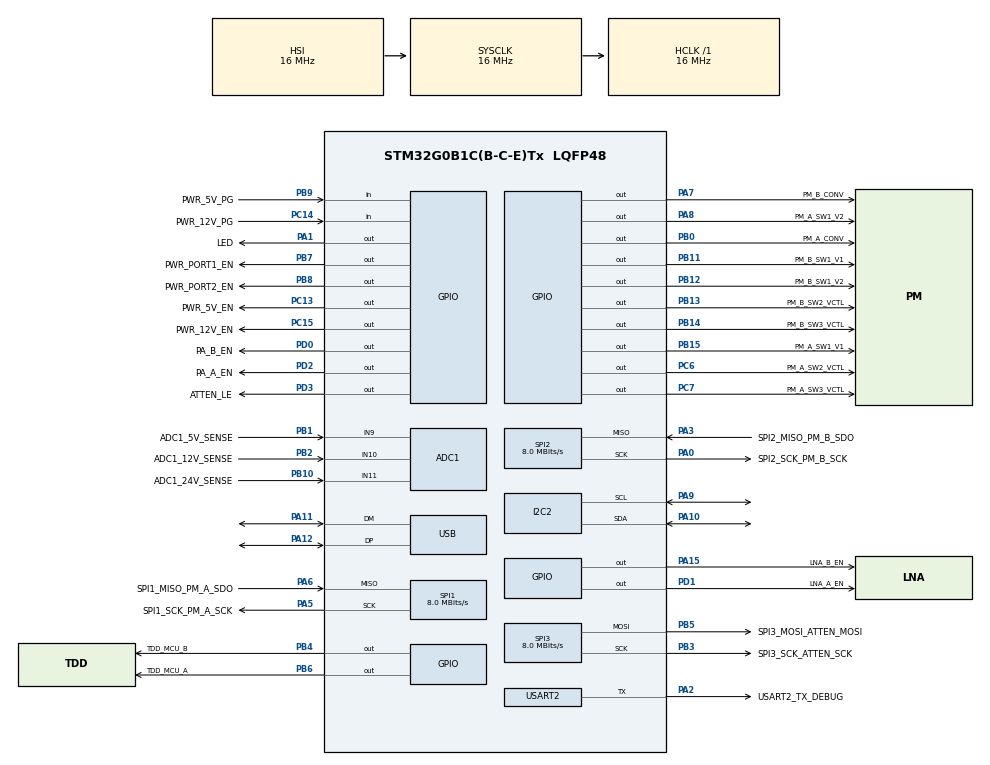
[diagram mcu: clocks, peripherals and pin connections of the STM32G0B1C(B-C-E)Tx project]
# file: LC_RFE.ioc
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ADC1.Channel-2\#ChannelRegularConversion=ADC_CHANNEL_9
ADC1.Channel-5\#ChannelRegularConversion=ADC_CHANNEL_10
ADC1.Channel-6\#ChannelRegularConversion=ADC_CHANNEL_11
ADC1.ContinuousConvMode=DISABLE
ADC1.DMAContinuousRequests=ENABLE
ADC1.EOCSelection=ADC_EOC_SEQ_CONV
ADC1.EnableAnalogWatchDog2=false
ADC1.EnableAnalogWatchDog3=false
ADC1.ExternalTrigConv=ADC_EXTERNALTRIG_T3_TRGO
ADC1.NbrOfConversion=3
ADC1.NbrOfConversionFlag=1
ADC1.Overrun=ADC_OVR_DATA_OVERWRITTEN
ADC1.Rank-2\#ChannelRegularConversion=1
ADC1.Rank-5\#ChannelRegularConversion=2
ADC1.Rank-6\#ChannelRegularConversion=3
ADC1.SamplingTime-2\#ChannelRegularConversion=ADC_SAMPLINGTIME_COMMON_1
ADC1.SamplingTime-5\#ChannelRegularConversion=ADC_SAMPLINGTIME_COMMON_1
ADC1.SamplingTime-6\#ChannelRegularConversion=ADC_SAMPLINGTIME_COMMON_1
ADC1.SamplingTimeCommon1=ADC_SAMPLETIME_160CYCLES_5
ADC1.SamplingTimeCommon2=ADC_SAMPLETIME_160CYCLES_5
ADC1.SelectedChannel=ADC_CHANNEL_9|ADC_CHANNEL_10|ADC_CHANNEL_11
ADC1.master=1
Dma.ADC1.0.Direction=DMA_PERIPH_TO_MEMORY
Dma.ADC1.0.EventEnable=DISABLE
Dma.ADC1.0.Instance=DMA1_Channel1
Dma.ADC1.0.MemDataAlignment=DMA_MDATAALIGN_HALFWORD
Dma.ADC1.0.MemInc=DMA_MINC_ENABLE
Dma.ADC1.0.Mode=DMA_CIRCULAR
Dma.ADC1.0.PeriphDataAlignment=DMA_PDATAALIGN_HALFWORD
Dma.ADC1.0.PeriphInc=DMA_PINC_DISABLE
Dma.ADC1.0.Polarity=HAL_DMAMUX_REQ_GEN_RISING
Dma.ADC1.0.Priority=DMA_PRIORITY_LOW
Dma.ADC1.0.RequestNumber=1
Dma.ADC1.0.SignalID=NONE
Dma.ADC1.0.SyncEnable=DISABLE
Dma.ADC1.0.SyncPolarity=HAL_DMAMUX_SYNC_NO_EVENT
Dma.ADC1.0.SyncRequestNumber=1
Dma.ADC1.0.SyncSignalID=NONE
Dma.Request0=ADC1
Mcu.Family=STM32G0
Mcu.Name=STM32G0B1C(B-C-E)Tx
Mcu.Package=LQFP48
NVIC.ADC1_COMP_IRQn=true\:0\:0\:false\:false\:true\:true\:true\:true
NVIC.DMA1_Channel1_IRQn=true\:0\:0\:false\:false\:true\:false\:true\:true
NVIC.USB_UCPD1_2_IRQn=true\:0\:0\:false\:false\:true\:true\:true\:true
PA0.GPIO_Label=SPI2_SCK_PM_B_SCK
PA0.Mode=RX_Only_Simplex_Unidirect_Master
PA0.Signal=SPI2_SCK
PA1.GPIO_Label=LED
PA1.Signal=GPIO_Output
PA10.Mode=I2C
PA10.Signal=I2C2_SDA
PA11\ [PA9].Mode=Device
PA11\ [PA9].Signal=USB_DM
PA12\ [PA10].Mode=Device
PA12\ [PA10].Signal=USB_DP
PA13.Mode=Serial_Wire
PA13.Signal=SYS_SWDIO
PA14-BOOT0.Mode=Serial_Wire
PA14-BOOT0.Signal=SYS_SWCLK
PA15.GPIO_Label=LNA_B_EN
PA15.Signal=GPIO_Output
PA2.GPIO_Label=USART2_TX_DEBUG
PA2.Mode=Half_duplex(single_wire_mode)
PA2.Signal=USART2_TX
PA3.GPIO_Label=SPI2_MISO_PM_B_SDO
PA3.Mode=RX_Only_Simplex_Unidirect_Master
PA3.Signal=SPI2_MISO
PA5.GPIO_Label=SPI1_SCK_PM_A_SCK
PA5.Mode=RX_Only_Simplex_Unidirect_Master
PA5.Signal=SPI1_SCK
PA6.GPIO_Label=SPI1_MISO_PM_A_SDO
PA6.Mode=RX_Only_Simplex_Unidirect_Master
PA6.Signal=SPI1_MISO
PA7.GPIO_Label=PM_B_CONV
PA7.Signal=GPIO_Output
PA8.GPIO_Label=PM_A_SW1_V2
PA8.Signal=GPIO_Output
PA9.Mode=I2C
PA9.Signal=I2C2_SCL
PB0.GPIO_Label=PM_A_CONV
PB0.Signal=GPIO_Output
PB1.GPIO_Label=ADC1_5V_SENSE
PB1.Signal=SharedAnalog_PB1
PB10.GPIO_Label=ADC1_24V_SENSE
PB10.Signal=SharedAnalog_PB10
PB11.GPIO_Label=PM_B_SW1_V1
PB11.Signal=GPIO_Output
PB12.GPIO_Label=PM_B_SW1_V2
PB12.Signal=GPIO_Output
PB13.GPIO_Label=PM_B_SW2_VCTL
PB13.Signal=GPIO_Output
PB14.GPIO_Label=PM_B_SW3_VCTL
PB14.Signal=GPIO_Output
PB15.GPIO_Label=PM_A_SW1_V1
PB15.Signal=GPIO_Output
PB2.GPIO_Label=ADC1_12V_SENSE
PB2.Signal=SharedAnalog_PB2
PB3.GPIO_Label=SPI3_SCK_ATTEN_SCK
PB3.Mode=TX_Only_Simplex_Unidirect_Master
PB3.Signal=SPI3_SCK
PB4.GPIO_Label=TDD_MCU_B
PB4.Signal=GPIO_Output
PB5.GPIO_Label=SPI3_MOSI_ATTEN_MOSI
PB5.Mode=TX_Only_Simplex_Unidirect_Master
PB5.Signal=SPI3_MOSI
PB6.GPIO_Label=TDD_MCU_A
PB6.Signal=GPIO_Output
PB7.GPIO_Label=PWR_PORT1_EN
PB7.Signal=GPIO_Output
PB8.GPIO_Label=PWR_PORT2_EN
PB8.Signal=GPIO_Output
PB9.GPIO_Label=PWR_5V_PG
PB9.Signal=GPIO_Input
PC13.GPIO_Label=PWR_5V_EN
PC13.Signal=GPIO_Output
PC14-OSC32_IN\ (PC14).GPIO_Label=PWR_12V_PG
PC14-OSC32_IN\ (PC14).Signal=GPIO_Input
PC15-OSC32_OUT\ (PC15).GPIO_Label=PWR_12V_EN
PC15-OSC32_OUT\ (PC15).Signal=GPIO_Output
PC6.GPIO_Label=PM_A_SW2_VCTL
PC6.Signal=GPIO_Output
PC7.GPIO_Label=PM_A_SW3_VCTL
PC7.Signal=GPIO_Output
PD0.GPIO_Label=PA_B_EN
PD0.Signal=GPIO_Output
PD1.GPIO_Label=LNA_A_EN
PD1.Signal=GPIO_Output
PD2.GPIO_Label=PA_A_EN
PD2.Signal=GPIO_Output
PD3.GPIO_Label=ATTEN_LE
PD3.Signal=GPIO_Output
PF0-OSC_IN\ (PF0).Mode=HSE-External-Oscillator
PF0-OSC_IN\ (PF0).Signal=RCC_OSC_IN
PF1-OSC_OUT\ (PF1).Mode=HSE-External-Oscillator
PF1-OSC_OUT\ (PF1).Signal=RCC_OSC_OUT
ProjectManager.HeapSize=0x2000
ProjectManager.StackSize=0x2000
ProjectManager.TargetToolchain=STM32CubeIDE
RCC.AHBFreq_Value=16000000
RCC.CortexFreq_Value=16000000
RCC.EXTERNAL_CLOCK_VALUE=48000
RCC.HCLKFreq_Value=16000000
RCC.HSE_VALUE=8000000
RCC.HSI48_VALUE=48000000
RCC.HSI_VALUE=16000000
RCC.LSE_VALUE=32768
RCC.PLLQ=RCC_PLLQ_DIV4
RCC.SYSCLKFreq_VALUE=16000000
RCC.USBFreq_Value=48000000
RCC.VCOOutputFreq_Value=128000000
SH.SharedAnalog_PB1.0=GPIO_Analog
SH.SharedAnalog_PB1.1=ADC1_IN9,IN9
SH.SharedAnalog_PB10.0=GPIO_Analog
SH.SharedAnalog_PB10.1=ADC1_IN11,IN11
SH.SharedAnalog_PB2.0=GPIO_Analog
SH.SharedAnalog_PB2.1=ADC1_IN10,IN10
SPI1.CalculateBaudRate=8.0 MBits/s
SPI1.Direction=SPI_DIRECTION_2LINES_RXONLY
SPI1.Mode=SPI_MODE_MASTER
SPI1.VirtualType=VM_MASTER
SPI2.CalculateBaudRate=8.0 MBits/s
SPI2.Direction=SPI_DIRECTION_2LINES_RXONLY
SPI2.Mode=SPI_MODE_MASTER
SPI2.VirtualType=VM_MASTER
SPI3.BaudRatePrescaler=SPI_BAUDRATEPRESCALER_2
SPI3.CalculateBaudRate=8.0 MBits/s
SPI3.DataSize=SPI_DATASIZE_8BIT
SPI3.Direction=SPI_DIRECTION_2LINES
SPI3.FirstBit=SPI_FIRSTBIT_LSB
SPI3.Mode=SPI_MODE_MASTER
SPI3.VirtualType=VM_MASTER
TIM3.Period=1000-1
TIM3.Prescaler=16000-1
TIM3.TIM_MasterOutputTrigger=TIM_TRGO_UPDATE
USART2.Mode=MODE_TX
USART2.VirtualMode-Half_duplex(single_wire_mode)=VM_ASYNC
USB_DEVICE.CLASS_NAME_FS=CDC
USB_DEVICE.VirtualMode=Cdc
USB_DEVICE.VirtualModeFS=Cdc_FS
VP_SYS_VS_DBSignals.Mode=DisableDeadBatterySignals
VP_TIM3_VS_ClockSourceINT.Mode=Internal
VP_USB_DEVICE_VS_USB_DEVICE_CDC_FS.Mode=CDC_FS
board=custom

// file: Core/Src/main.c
/* USER CODE BEGIN Header */
/**
  ******************************************************************************
  * @file           : main.c
  * @brief          : Main program body
  ******************************************************************************
  * @attention
  *
  * Copyright (c) 2024 STMicroelectronics.
  * All rights reserved.
  *
  * This software is licensed under terms that can be found in the LICENSE file
  * in the root directory of this software component.
  * If no LICENSE file comes with this software, it is provided AS-IS.
  *
  ******************************************************************************
  */
/* USER CODE END Header */
#include "main.h"
#include "usb_device.h"

/* USER CODE BEGIN Includes */
#include <stdio.h>
#include <stdarg.h>  // va_list, va_start, va_end
#include <stdlib.h>  // strtof
#include <string.h>
#include "usbd_cdc_if.h"
#include "util.h"
#include "func_sys.h"
#include "func_rf.h"
#include "test_modes.h"
/* USER CODE END Includes */

/* USER CODE BEGIN PD */
#define FW_VER     0.3

#define DEBUG_PRINT

// use USB CDC for printf()? If not set, UART2 will be used.
// side effect: an active USB connection is required for things to work
// as otherwise the TX ACK will never be generated and printf() will hang.
// not really a problem if your use case has a USB cable plugged in all the time.
#define PRINTF_USB_CDC

// For our custom cdcprintf() functionality
#define CDC_QUEUE_SIZE 2048
static char cdc_queue[CDC_QUEUE_SIZE] = {0};
static size_t cdc_queue_len = 0;

// Potential divider ratio calculations for Vsense
#define RATIO_5V   ((26.1 + 26.1) / 26.1)  // R107 and R108
#define RATIO_12V  ((75.0 + 26.1) / 26.1)  // R105 and R106
#define RATIO_24V  ((191.0 + 26.1) / 26.1) // R103 and R104

#define MAX_CMD_QUEUE 16
typedef struct {
    char* commands[MAX_CMD_QUEUE];
    uint8_t head;
    uint8_t tail;
} CommandQueue;

static CommandQueue cmd_queue = {0};

static int enqueue_command(const char* cmd) {
    uint8_t next_head = (cmd_queue.head + 1) % MAX_CMD_QUEUE;
    if(next_head == cmd_queue.tail) return -1; // Queue full

    cmd_queue.commands[cmd_queue.head] = malloc(strlen(cmd)+1);
    strcpy(cmd_queue.commands[cmd_queue.head], cmd);
    cmd_queue.head = next_head;
    return 0;
}

static char* dequeue_command(void) {
    if(cmd_queue.tail == cmd_queue.head) return NULL; // Queue empty
    char* cmd = cmd_queue.commands[cmd_queue.tail];
    cmd_queue.tail = (cmd_queue.tail + 1) % MAX_CMD_QUEUE;
    return cmd;
}
/* USER CODE END PD */

ADC_HandleTypeDef hadc1;
DMA_HandleTypeDef hdma_adc1;

I2C_HandleTypeDef hi2c2;

SPI_HandleTypeDef hspi1;
SPI_HandleTypeDef hspi2;
SPI_HandleTypeDef hspi3;

TIM_HandleTypeDef htim3;

UART_HandleTypeDef huart2;

/* USER CODE BEGIN PV */
volatile uint8_t EndOfADCConversion;
uint16_t adc_data[3];

float vsense_5v, vsense_12v, vsense_24v;

extern rf_sw_sp3t IC904, IC1004;
extern rf_sw_spdt IC903, IC905, IC1003, IC1005, IC1501_1502, IC1601_1602;
/* USER CODE END PV */

void SystemClock_Config(void);
static void MX_GPIO_Init(void);
static void MX_DMA_Init(void);
static void MX_USART2_UART_Init(void);
static void MX_ADC1_Init(void);
static void MX_I2C2_Init(void);
static void MX_SPI3_Init(void);
static void MX_TIM3_Init(void);
static void MX_SPI1_Init(void);
static void MX_SPI2_Init(void);
/* USER CODE BEGIN PFP */
int cdcprintf(const char* format, ...);
int dbgprintf(const char* format, ...);
void cdc_process_queue(void);
void resp_ok();
void resp_error();
void resp_bool(bool);
void resp_float(float);
void resp_param_error();
void queue_command(char*);
void process_command(char*);
/* USER CODE END PFP */

int main(void)
{

  /* MCU Configuration--------------------------------------------------------*/

  /* Reset of all peripherals, Initializes the Flash interface and the Systick. */
  HAL_Init();

  /* Configure the system clock */
  SystemClock_Config();

  /* USER CODE BEGIN SysInit */
  //setbuf(stdout, NULL); // no need for a \n for printf()
  /* USER CODE END SysInit */

  /* Initialize all configured peripherals */
  MX_GPIO_Init();
  MX_DMA_Init();
  MX_USART2_UART_Init();
  MX_ADC1_Init();
  MX_I2C2_Init();
  MX_SPI3_Init();
  MX_USB_Device_Init();
  MX_TIM3_Init();
  MX_SPI1_Init();
  MX_SPI2_Init();
  /* USER CODE BEGIN 2 */
  // Start continuous ADC conversion
  HAL_ADC_Start_DMA(&hadc1, (uint32_t)&adc_data, 3);
  HAL_TIM_Base_Start(&htim3);

  // Start with a known RF setup
  rf_reset(RF_CH_A);
  rf_reset(RF_CH_B);

  // Open for business!
  led_on();
  /* USER CODE END 2 */

  /* Infinite loop */
  /* USER CODE BEGIN WHILE */
  while (1)
  {
    // Process cdcprintf() output queue
    cdc_process_queue();

    // Commands that need to talk to talk SPI etc take a long time, causing
    // the CDC comms to break, so we have this queue to process them
    char* next_cmd = dequeue_command();
    if(next_cmd) {
        process_command(next_cmd);
        free(next_cmd);
    }

    // Update ADC values, should update every second with TIM3 parameters set
    if(EndOfADCConversion == 1) {
      vsense_5v = ((float)adc_data[0] / 4095.0) * 3.283 * RATIO_5V;
      vsense_12v = ((float)adc_data[1] / 4095.0) * 3.283 * RATIO_12V;
      vsense_24v = ((float)adc_data[2] / 4095.0) * 3.283 * RATIO_24V;
      EndOfADCConversion = 0;
    }

/*
    // Test CH A switch GPIO
    const uint32_t xdelay_ms = 500;
    // 1. Toggle PM_A_SW1_V1 (PB15)
    //HAL_GPIO_WritePin(PM_A_SW1_V1_GPIO_Port, PM_A_SW1_V1_Pin, GPIO_PIN_SET);
    HAL_GPIO_WritePin(GPIOB, GPIO_PIN_15, GPIO_PIN_SET);
    HAL_Delay(xdelay_ms);

    // 2. Toggle PM_A_SW1_V2 (PA8)
    //HAL_GPIO_WritePin(PM_A_SW1_V2_GPIO_Port, PM_A_SW1_V2_Pin, GPIO_PIN_SET);
    HAL_GPIO_WritePin(GPIOA, GPIO_PIN_8, GPIO_PIN_SET);
    HAL_Delay(xdelay_ms);

    // 3. Toggle PM_A_SW2_VCTL (PC6)
    //HAL_GPIO_WritePin(PM_A_SW2_VCTL_GPIO_Port, PM_A_SW2_VCTL_Pin, GPIO_PIN_SET);
    HAL_GPIO_WritePin(GPIOC, GPIO_PIN_6, GPIO_PIN_SET);
    HAL_Delay(xdelay_ms);

    // 4. Toggle PM_A_SW3_VCTL (PC7)
    //HAL_GPIO_WritePin(PM_A_SW3_VCTL_GPIO_Port, PM_A_SW3_VCTL_Pin, GPIO_PIN_SET);
    HAL_GPIO_WritePin(GPIOC, GPIO_PIN_7, GPIO_PIN_SET);
    HAL_Delay(xdelay_ms); // Delay after the last toggle before resetting

    // --- Reset All Pins ---
    // Set all specified pins back to LOW (Reset state)

    HAL_GPIO_WritePin(PM_A_SW1_V1_GPIO_Port, PM_A_SW1_V1_Pin, GPIO_PIN_RESET);
    HAL_GPIO_WritePin(PM_A_SW1_V2_GPIO_Port, PM_A_SW1_V2_Pin, GPIO_PIN_RESET);
    HAL_GPIO_WritePin(PM_A_SW2_VCTL_GPIO_Port, PM_A_SW2_VCTL_Pin, GPIO_PIN_RESET);
    HAL_GPIO_WritePin(PM_A_SW3_VCTL_GPIO_Port, PM_A_SW3_VCTL_Pin, GPIO_PIN_RESET);
    HAL_Delay(xdelay_ms); // Delay after the last toggle before resetting
*/

    // Test 1 - RX Path, LNA Bypass, 0dB attenuation
    //test_mode_1(); HAL_Delay(3000);

    // Test 2 - RX Path, LNA Enable, 0dB attenuation
    //test_mode_2(); HAL_Delay(3000);

    // Test 3 - TX Path, PA Bypass
    //test_mode_3(); HAL_Delay(3000);

    // Test 4 - TX Path, PA Enable
    //test_mode_4(); HAL_Delay(3000);

    //  Test 5 - RX Path, Variable Attenuation
    //test_mode_5();

    /* USER CODE END WHILE */

  }
}

void SystemClock_Config(void)
{
  RCC_OscInitTypeDef RCC_OscInitStruct = {0};
  RCC_ClkInitTypeDef RCC_ClkInitStruct = {0};

  /** Configure the main internal regulator output voltage
  */
  HAL_PWREx_ControlVoltageScaling(PWR_REGULATOR_VOLTAGE_SCALE1);

  /** Initializes the RCC Oscillators according to the specified parameters
  * in the RCC_OscInitTypeDef structure.
  */
  RCC_OscInitStruct.OscillatorType = RCC_OSCILLATORTYPE_HSI|RCC_OSCILLATORTYPE_HSI48;
  RCC_OscInitStruct.HSIState = RCC_HSI_ON;
  RCC_OscInitStruct.HSI48State = RCC_HSI48_ON;
  RCC_OscInitStruct.HSIDiv = RCC_HSI_DIV1;
  RCC_OscInitStruct.HSICalibrationValue = RCC_HSICALIBRATION_DEFAULT;
  RCC_OscInitStruct.PLL.PLLState = RCC_PLL_NONE;
  if (HAL_RCC_OscConfig(&RCC_OscInitStruct) != HAL_OK)
  {
    Error_Handler();
  }

  /** Initializes the CPU, AHB and APB buses clocks
  */
  RCC_ClkInitStruct.ClockType = RCC_CLOCKTYPE_HCLK|RCC_CLOCKTYPE_SYSCLK
                              |RCC_CLOCKTYPE_PCLK1;
  RCC_ClkInitStruct.SYSCLKSource = RCC_SYSCLKSOURCE_HSI;
  RCC_ClkInitStruct.AHBCLKDivider = RCC_SYSCLK_DIV1;
  RCC_ClkInitStruct.APB1CLKDivider = RCC_HCLK_DIV1;

  if (HAL_RCC_ClockConfig(&RCC_ClkInitStruct, FLASH_LATENCY_0) != HAL_OK)
  {
    Error_Handler();
  }
}

static void MX_ADC1_Init(void)
{

  ADC_ChannelConfTypeDef sConfig = {0};

  /** Configure the global features of the ADC (Clock, Resolution, Data Alignment and number of conversion)
  */
  hadc1.Instance = ADC1;
  hadc1.Init.ClockPrescaler = ADC_CLOCK_SYNC_PCLK_DIV2;
  hadc1.Init.Resolution = ADC_RESOLUTION_12B;
  hadc1.Init.DataAlign = ADC_DATAALIGN_RIGHT;
  hadc1.Init.ScanConvMode = ADC_SCAN_ENABLE;
  hadc1.Init.EOCSelection = ADC_EOC_SEQ_CONV;
  hadc1.Init.LowPowerAutoWait = DISABLE;
  hadc1.Init.LowPowerAutoPowerOff = DISABLE;
  hadc1.Init.ContinuousConvMode = DISABLE;
  hadc1.Init.NbrOfConversion = 3;
  hadc1.Init.DiscontinuousConvMode = DISABLE;
  hadc1.Init.ExternalTrigConv = ADC_EXTERNALTRIG_T3_TRGO;
  hadc1.Init.ExternalTrigConvEdge = ADC_EXTERNALTRIGCONVEDGE_RISING;
  hadc1.Init.DMAContinuousRequests = ENABLE;
  hadc1.Init.Overrun = ADC_OVR_DATA_OVERWRITTEN;
  hadc1.Init.SamplingTimeCommon1 = ADC_SAMPLETIME_160CYCLES_5;
  hadc1.Init.SamplingTimeCommon2 = ADC_SAMPLETIME_160CYCLES_5;
  hadc1.Init.OversamplingMode = DISABLE;
  hadc1.Init.TriggerFrequencyMode = ADC_TRIGGER_FREQ_HIGH;
  if (HAL_ADC_Init(&hadc1) != HAL_OK)
  {
    Error_Handler();
  }

  /** Configure Regular Channel
  */
  sConfig.Channel = ADC_CHANNEL_9;
  sConfig.Rank = ADC_REGULAR_RANK_1;
  sConfig.SamplingTime = ADC_SAMPLINGTIME_COMMON_1;
  if (HAL_ADC_ConfigChannel(&hadc1, &sConfig) != HAL_OK)
  {
    Error_Handler();
  }

  /** Configure Regular Channel
  */
  sConfig.Channel = ADC_CHANNEL_10;
  sConfig.Rank = ADC_REGULAR_RANK_2;
  if (HAL_ADC_ConfigChannel(&hadc1, &sConfig) != HAL_OK)
  {
    Error_Handler();
  }

  /** Configure Regular Channel
  */
  sConfig.Channel = ADC_CHANNEL_11;
  sConfig.Rank = ADC_REGULAR_RANK_3;
  if (HAL_ADC_ConfigChannel(&hadc1, &sConfig) != HAL_OK)
  {
    Error_Handler();
  }

}

static void MX_I2C2_Init(void)
{

  hi2c2.Instance = I2C2;
  hi2c2.Init.Timing = 0x00303D5B;
  hi2c2.Init.OwnAddress1 = 0;
  hi2c2.Init.AddressingMode = I2C_ADDRESSINGMODE_7BIT;
  hi2c2.Init.DualAddressMode = I2C_DUALADDRESS_DISABLE;
  hi2c2.Init.OwnAddress2 = 0;
  hi2c2.Init.OwnAddress2Masks = I2C_OA2_NOMASK;
  hi2c2.Init.GeneralCallMode = I2C_GENERALCALL_DISABLE;
  hi2c2.Init.NoStretchMode = I2C_NOSTRETCH_DISABLE;
  if (HAL_I2C_Init(&hi2c2) != HAL_OK)
  {
    Error_Handler();
  }

  /** Configure Analogue filter
  */
  if (HAL_I2CEx_ConfigAnalogFilter(&hi2c2, I2C_ANALOGFILTER_ENABLE) != HAL_OK)
  {
    Error_Handler();
  }

  /** Configure Digital filter
  */
  if (HAL_I2CEx_ConfigDigitalFilter(&hi2c2, 0) != HAL_OK)
  {
    Error_Handler();
  }

}

static void MX_SPI1_Init(void)
{

  /* SPI1 parameter configuration*/
  hspi1.Instance = SPI1;
  hspi1.Init.Mode = SPI_MODE_MASTER;
  hspi1.Init.Direction = SPI_DIRECTION_2LINES_RXONLY;
  hspi1.Init.DataSize = SPI_DATASIZE_4BIT;
  hspi1.Init.CLKPolarity = SPI_POLARITY_LOW;
  hspi1.Init.CLKPhase = SPI_PHASE_1EDGE;
  hspi1.Init.NSS = SPI_NSS_SOFT;
  hspi1.Init.BaudRatePrescaler = SPI_BAUDRATEPRESCALER_2;
  hspi1.Init.FirstBit = SPI_FIRSTBIT_MSB;
  hspi1.Init.TIMode = SPI_TIMODE_DISABLE;
  hspi1.Init.CRCCalculation = SPI_CRCCALCULATION_DISABLE;
  hspi1.Init.CRCPolynomial = 7;
  hspi1.Init.CRCLength = SPI_CRC_LENGTH_DATASIZE;
  hspi1.Init.NSSPMode = SPI_NSS_PULSE_ENABLE;
  if (HAL_SPI_Init(&hspi1) != HAL_OK)
  {
    Error_Handler();
  }

}

static void MX_SPI2_Init(void)
{

  /* SPI2 parameter configuration*/
  hspi2.Instance = SPI2;
  hspi2.Init.Mode = SPI_MODE_MASTER;
  hspi2.Init.Direction = SPI_DIRECTION_2LINES_RXONLY;
  hspi2.Init.DataSize = SPI_DATASIZE_4BIT;
  hspi2.Init.CLKPolarity = SPI_POLARITY_LOW;
  hspi2.Init.CLKPhase = SPI_PHASE_1EDGE;
  hspi2.Init.NSS = SPI_NSS_SOFT;
  hspi2.Init.BaudRatePrescaler = SPI_BAUDRATEPRESCALER_2;
  hspi2.Init.FirstBit = SPI_FIRSTBIT_MSB;
  hspi2.Init.TIMode = SPI_TIMODE_DISABLE;
  hspi2.Init.CRCCalculation = SPI_CRCCALCULATION_DISABLE;
  hspi2.Init.CRCPolynomial = 7;
  hspi2.Init.CRCLength = SPI_CRC_LENGTH_DATASIZE;
  hspi2.Init.NSSPMode = SPI_NSS_PULSE_ENABLE;
  if (HAL_SPI_Init(&hspi2) != HAL_OK)
  {
    Error_Handler();
  }

}

static void MX_SPI3_Init(void)
{

  /* SPI3 parameter configuration*/
  hspi3.Instance = SPI3;
  hspi3.Init.Mode = SPI_MODE_MASTER;
  hspi3.Init.Direction = SPI_DIRECTION_2LINES;
  hspi3.Init.DataSize = SPI_DATASIZE_8BIT;
  hspi3.Init.CLKPolarity = SPI_POLARITY_LOW;
  hspi3.Init.CLKPhase = SPI_PHASE_1EDGE;
  hspi3.Init.NSS = SPI_NSS_SOFT;
  hspi3.Init.BaudRatePrescaler = SPI_BAUDRATEPRESCALER_2;
  hspi3.Init.FirstBit = SPI_FIRSTBIT_LSB;
  hspi3.Init.TIMode = SPI_TIMODE_DISABLE;
  hspi3.Init.CRCCalculation = SPI_CRCCALCULATION_DISABLE;
  hspi3.Init.CRCPolynomial = 7;
  hspi3.Init.CRCLength = SPI_CRC_LENGTH_DATASIZE;
  hspi3.Init.NSSPMode = SPI_NSS_PULSE_ENABLE;
  if (HAL_SPI_Init(&hspi3) != HAL_OK)
  {
    Error_Handler();
  }

}

static void MX_TIM3_Init(void)
{

  TIM_ClockConfigTypeDef sClockSourceConfig = {0};
  TIM_MasterConfigTypeDef sMasterConfig = {0};

  htim3.Instance = TIM3;
  htim3.Init.Prescaler = 16000-1;
  htim3.Init.CounterMode = TIM_COUNTERMODE_UP;
  htim3.Init.Period = 1000-1;
  htim3.Init.ClockDivision = TIM_CLOCKDIVISION_DIV1;
  htim3.Init.AutoReloadPreload = TIM_AUTORELOAD_PRELOAD_DISABLE;
  if (HAL_TIM_Base_Init(&htim3) != HAL_OK)
  {
    Error_Handler();
  }
  sClockSourceConfig.ClockSource = TIM_CLOCKSOURCE_INTERNAL;
  if (HAL_TIM_ConfigClockSource(&htim3, &sClockSourceConfig) != HAL_OK)
  {
    Error_Handler();
  }
  sMasterConfig.MasterOutputTrigger = TIM_TRGO_UPDATE;
  sMasterConfig.MasterSlaveMode = TIM_MASTERSLAVEMODE_DISABLE;
  if (HAL_TIMEx_MasterConfigSynchronization(&htim3, &sMasterConfig) != HAL_OK)
  {
    Error_Handler();
  }

}

static void MX_USART2_UART_Init(void)
{

  huart2.Instance = USART2;
  huart2.Init.BaudRate = 115200;
  huart2.Init.WordLength = UART_WORDLENGTH_8B;
  huart2.Init.StopBits = UART_STOPBITS_1;
  huart2.Init.Parity = UART_PARITY_NONE;
  huart2.Init.Mode = UART_MODE_TX;
  huart2.Init.HwFlowCtl = UART_HWCONTROL_NONE;
  huart2.Init.OverSampling = UART_OVERSAMPLING_16;
  huart2.Init.OneBitSampling = UART_ONE_BIT_SAMPLE_DISABLE;
  huart2.Init.ClockPrescaler = UART_PRESCALER_DIV1;
  huart2.AdvancedInit.AdvFeatureInit = UART_ADVFEATURE_NO_INIT;
  if (HAL_HalfDuplex_Init(&huart2) != HAL_OK)
  {
    Error_Handler();
  }
  if (HAL_UARTEx_SetTxFifoThreshold(&huart2, UART_TXFIFO_THRESHOLD_1_8) != HAL_OK)
  {
    Error_Handler();
  }
  if (HAL_UARTEx_SetRxFifoThreshold(&huart2, UART_RXFIFO_THRESHOLD_1_8) != HAL_OK)
  {
    Error_Handler();
  }
  if (HAL_UARTEx_DisableFifoMode(&huart2) != HAL_OK)
  {
    Error_Handler();
  }

}

static void MX_DMA_Init(void)
{

  /* DMA controller clock enable */
  __HAL_RCC_DMA1_CLK_ENABLE();

  /* DMA interrupt init */
  /* DMA1_Channel1_IRQn interrupt configuration */
  HAL_NVIC_SetPriority(DMA1_Channel1_IRQn, 0, 0);
  HAL_NVIC_EnableIRQ(DMA1_Channel1_IRQn);

}

static void MX_GPIO_Init(void)
{
  GPIO_InitTypeDef GPIO_InitStruct = {0};

  /* GPIO Ports Clock Enable */
  __HAL_RCC_GPIOC_CLK_ENABLE();
  __HAL_RCC_GPIOF_CLK_ENABLE();
  __HAL_RCC_GPIOA_CLK_ENABLE();
  __HAL_RCC_GPIOB_CLK_ENABLE();
  __HAL_RCC_GPIOD_CLK_ENABLE();

  /*Configure GPIO pin Output Level */
  HAL_GPIO_WritePin(GPIOC, PWR_5V_EN_Pin|PWR_12V_EN_Pin|PM_A_SW2_VCTL_Pin|PM_A_SW3_VCTL_Pin, GPIO_PIN_RESET);

  /*Configure GPIO pin Output Level */
  HAL_GPIO_WritePin(GPIOA, LED_Pin|PM_B_CONV_Pin|PM_A_SW1_V2_Pin|LNA_B_EN_Pin, GPIO_PIN_RESET);

  /*Configure GPIO pin Output Level */
  HAL_GPIO_WritePin(GPIOB, PM_A_CONV_Pin|PM_B_SW1_V1_Pin|PM_B_SW1_V2_Pin|PM_B_SW2_VCTL_Pin
                          |PM_B_SW3_VCTL_Pin|PM_A_SW1_V1_Pin|TDD_MCU_B_Pin|TDD_MCU_A_Pin
                          |PWR_PORT1_EN_Pin|PWR_PORT2_EN_Pin, GPIO_PIN_RESET);

  /*Configure GPIO pin Output Level */
  HAL_GPIO_WritePin(GPIOD, PA_B_EN_Pin|LNA_A_EN_Pin|PA_A_EN_Pin|ATTEN_LE_Pin, GPIO_PIN_RESET);

  /*Configure GPIO pins : PWR_5V_EN_Pin PWR_12V_EN_Pin PM_A_SW2_VCTL_Pin PM_A_SW3_VCTL_Pin */
  GPIO_InitStruct.Pin = PWR_5V_EN_Pin|PWR_12V_EN_Pin|PM_A_SW2_VCTL_Pin|PM_A_SW3_VCTL_Pin;
  GPIO_InitStruct.Mode = GPIO_MODE_OUTPUT_PP;
  GPIO_InitStruct.Pull = GPIO_NOPULL;
  GPIO_InitStruct.Speed = GPIO_SPEED_FREQ_LOW;
  HAL_GPIO_Init(GPIOC, &GPIO_InitStruct);

  /*Configure GPIO pin : PWR_12V_PG_Pin */
  GPIO_InitStruct.Pin = PWR_12V_PG_Pin;
  GPIO_InitStruct.Mode = GPIO_MODE_INPUT;
  GPIO_InitStruct.Pull = GPIO_NOPULL;
  HAL_GPIO_Init(PWR_12V_PG_GPIO_Port, &GPIO_InitStruct);

  /*Configure GPIO pins : LED_Pin PM_B_CONV_Pin PM_A_SW1_V2_Pin LNA_B_EN_Pin */
  GPIO_InitStruct.Pin = LED_Pin|PM_B_CONV_Pin|PM_A_SW1_V2_Pin|LNA_B_EN_Pin;
  GPIO_InitStruct.Mode = GPIO_MODE_OUTPUT_PP;
  GPIO_InitStruct.Pull = GPIO_NOPULL;
  GPIO_InitStruct.Speed = GPIO_SPEED_FREQ_LOW;
  HAL_GPIO_Init(GPIOA, &GPIO_InitStruct);

  /*Configure GPIO pins : PM_A_CONV_Pin PM_B_SW1_V1_Pin PM_B_SW1_V2_Pin PM_B_SW2_VCTL_Pin
                           PM_B_SW3_VCTL_Pin PM_A_SW1_V1_Pin TDD_MCU_B_Pin TDD_MCU_A_Pin
                           PWR_PORT1_EN_Pin PWR_PORT2_EN_Pin */
  GPIO_InitStruct.Pin = PM_A_CONV_Pin|PM_B_SW1_V1_Pin|PM_B_SW1_V2_Pin|PM_B_SW2_VCTL_Pin
                          |PM_B_SW3_VCTL_Pin|PM_A_SW1_V1_Pin|TDD_MCU_B_Pin|TDD_MCU_A_Pin
                          |PWR_PORT1_EN_Pin|PWR_PORT2_EN_Pin;
  GPIO_InitStruct.Mode = GPIO_MODE_OUTPUT_PP;
  GPIO_InitStruct.Pull = GPIO_NOPULL;
  GPIO_InitStruct.Speed = GPIO_SPEED_FREQ_LOW;
  HAL_GPIO_Init(GPIOB, &GPIO_InitStruct);

  /*Configure GPIO pins : PA_B_EN_Pin LNA_A_EN_Pin PA_A_EN_Pin ATTEN_LE_Pin */
  GPIO_InitStruct.Pin = PA_B_EN_Pin|LNA_A_EN_Pin|PA_A_EN_Pin|ATTEN_LE_Pin;
  GPIO_InitStruct.Mode = GPIO_MODE_OUTPUT_PP;
  GPIO_InitStruct.Pull = GPIO_NOPULL;
  GPIO_InitStruct.Speed = GPIO_SPEED_FREQ_LOW;
  HAL_GPIO_Init(GPIOD, &GPIO_InitStruct);

  /*Configure GPIO pin : PWR_5V_PG_Pin */
  GPIO_InitStruct.Pin = PWR_5V_PG_Pin;
  GPIO_InitStruct.Mode = GPIO_MODE_INPUT;
  GPIO_InitStruct.Pull = GPIO_NOPULL;
  HAL_GPIO_Init(PWR_5V_PG_GPIO_Port, &GPIO_InitStruct);

}

/* USER CODE BEGIN 4 */

// Add formatted text to the CDC queue
int cdcprintf(const char* format, ...) {
    char temp[256];
    va_list args;
    int chars_written;

    va_start(args, format);
    chars_written = vsnprintf(temp, sizeof(temp), format, args);
    va_end(args);

    // Check if there's enough space in the queue
    if (cdc_queue_len + chars_written < CDC_QUEUE_SIZE - 1) {
        strcat(cdc_queue + cdc_queue_len, temp);
        cdc_queue_len += chars_written;
    }

    return chars_written;
}

int dbgprintf(const char* format, ...) {
  int chars_written = 0;

#ifdef DEBUG_PRINT
  char temp[256];
  char timestamped_temp[280]; // Larger to accommodate timestamp and prefix
  va_list args;

  uint32_t timestamp_ms = HAL_GetTick(); // Get current timestamp in milliseconds

  va_start(args, format);
  chars_written = vsnprintf(temp, sizeof(temp), format, args);
  va_end(args);

  // Create the formatted string with timestamp prefix
  int prefix_len = snprintf(timestamped_temp, sizeof(timestamped_temp),
                           "#[%lu] ", timestamp_ms);

  // Copy the original message after the prefix
  strncpy(timestamped_temp + prefix_len, temp, sizeof(timestamped_temp) - prefix_len);

  // Calculate total length including prefix
  int total_len = prefix_len + chars_written;

  // Check if there's enough space in the queue
  if (cdc_queue_len + total_len < CDC_QUEUE_SIZE - 1) {
      strcat(cdc_queue + cdc_queue_len, timestamped_temp);
      cdc_queue_len += total_len;
  }
#endif

  return chars_written;
}

// Process the CDC queue in your main loop
void cdc_process_queue(void) {
    // Maximum bytes to send in one transmission
    const size_t max_chunk_size = 64; // Adjust based on your CDC endpoint size

    if (cdc_queue_len > 0) {
        // First check if there's a newline within the first max_chunk_size characters
        size_t bytes_to_send = max_chunk_size;

        // Find the first newline in our potential chunk
        for (size_t i = 0; i < bytes_to_send && i < cdc_queue_len; i++) {
            if (cdc_queue[i] == '\n') {
                // Found a newline, send up to and including this newline
                bytes_to_send = i + 1;
                break;
            }
        }

        // If no newline found or beyond our chunk size, just use the max size
        if (bytes_to_send > cdc_queue_len) {
            bytes_to_send = cdc_queue_len;
        }

        // Only transmit if CDC is ready
        if (CDC_Transmit_FS((uint8_t*)cdc_queue, bytes_to_send) == USBD_OK) {
            // Shift remaining data to the beginning of the buffer
            if (bytes_to_send < cdc_queue_len) {
                memmove(cdc_queue, cdc_queue + bytes_to_send, cdc_queue_len - bytes_to_send);
            }

            cdc_queue_len -= bytes_to_send;
            cdc_queue[cdc_queue_len] = '\0'; // Ensure null termination
        }
    }
}

// printf() calls this
int _write(int file, char *ptr, int len) {
#ifdef PRINTF_USB_CDC
	// Just transmit, trying to be too clever here causes timeouts/problems...
	// THIS WILL NOT WORK WITH MULTIPLE NEWLINES - use cdcprintf() instead!
	CDC_Transmit_FS((uint8_t*)ptr, len);
#else
    HAL_UART_Transmit(&huart2, (uint8_t*)ptr, len, 100);
#endif

    return len;
}

void HAL_ADC_ConvCpltCallback(ADC_HandleTypeDef *hadc)
{
	EndOfADCConversion = 1;
}

////////////////////////////////////////////

void resp_ok()
{
	cdcprintf("OK\n");
}

void resp_error()
{
	cdcprintf("ERROR\n");
}

void resp_int(int val)
{
	cdcprintf("%d\n", val);
}
void resp_uint16(uint16_t val)
{
cdcprintf("%u\n", (unsigned int)val);
}

void resp_bool(bool val)
{
	if (val == true){
		cdcprintf("TRUE\n");
	} else {
		cdcprintf("FALSE\n");
	}
}

void resp_float(float val)
{
	char buf[12];
    sprintf(buf, "%.2f", val);
    cdcprintf("%s\n", buf);
}

void resp_param_error()
{
    cdcprintf("ERROR:PARAM\n");
}

void queue_command(char *cmd)
{
    if (enqueue_command(cmd) != 0) {
        dbgprintf("ERROR:CMD_QUEUE\n");
    }
}

void process_command(char *cmd)
{
	dbgprintf("Received command: %s\n", cmd);

    // Tokenize on : , or \n
	char* tokens[4];
	char* token = strtok(cmd, ":,\n");

    int token_count = 0;
    while (token_count < 4 && token != NULL) {
        tokens[token_count++] = token;
        token = strtok(NULL, ":,\n");
    }

    dbgprintf("<tokenizer>\n");
    if (token_count == 0) {
      resp_param_error();
      dbgprintf("  no tokens!\n");
      return;
    } else {
        dbgprintf("  %d token(s)\n", token_count);
    }
    for (int i = 0; i < token_count; i++) {
        dbgprintf("  token %d: %s\n", i, tokens[i]);
    }
    dbgprintf("</tokenizer>\n");
    /////////////////////

    // Handle version command
    if (strcmp(tokens[0], "VERSION") == 0) {
        resp_float(FW_VER);
        return;
    }

    // Handle LED commands
    if (strcmp(tokens[0], "LED") == 0) {
        if (token_count < 2) {
            resp_param_error();
            return;
        }

        if (strcmp(tokens[1], "ON") == 0) {
            resp_ok();
            led_on();
        } else if (strcmp(tokens[1], "OFF") == 0) {
            resp_ok();
        	led_off();
        } else {
            resp_param_error();
        }
        return;
    }

    // Handle voltage sensing
    if (strcmp(tokens[0], "VSENSE") == 0) {
        if (token_count < 2) {
            resp_param_error();
            return;
        }

        if (strcmp(tokens[1], "5V") == 0) {
            resp_float(vsense_5v);
        } else if (strcmp(tokens[1], "12V") == 0) {
            resp_float(vsense_12v);
        } else if (strcmp(tokens[1], "24V") == 0) {
            resp_float(vsense_24v);
        } else {
            resp_param_error();
        }
        return;
    }

    // Handle power control
    if (strcmp(tokens[0], "PWR") == 0) {
        if (token_count < 3) {
            resp_param_error();
            return;
        }

        if (strcmp(tokens[1], "ON") == 0) {
            if (strcmp(tokens[2], "5V") == 0) {
                resp_ok();
                pwr_5v_on();
            } else if (strcmp(tokens[2], "12V") == 0) {
                resp_ok();
                pwr_12v_on();
            } else {
                resp_param_error();
            }
        } else if (strcmp(tokens[1], "OFF") == 0) {
            if (strcmp(tokens[2], "5V") == 0) {
                resp_ok();
                pwr_5v_off();
            } else if (strcmp(tokens[2], "12V") == 0) {
                resp_ok();
                pwr_12v_off();
            } else {
                resp_param_error();
            }
        } else {
            resp_param_error();
        }
        return;
    }

    // Handle relay control
    if (strcmp(tokens[0], "RELAY") == 0) {
        if (token_count < 3) {
            resp_param_error();
            return;
        }

        if (strcmp(tokens[1], "ON") == 0) {
            if (strcmp(tokens[2], "1") == 0) {
                resp_ok();
                relay_port1_on();
            } else if (strcmp(tokens[2], "2") == 0) {
                resp_ok();
                relay_port2_on();
            } else {
                resp_param_error();
            }
        } else if (strcmp(tokens[1], "OFF") == 0) {
            if (strcmp(tokens[2], "1") == 0) {
                resp_ok();
                relay_port1_off();
            } else if (strcmp(tokens[2], "2") == 0) {
                resp_ok();
                relay_port2_off();
            } else {
                resp_param_error();
            }
        } else {
            resp_param_error();
        }
        return;
    }

    // Handle LNA control
    if (strcmp(tokens[0], "LNA") == 0) {
        if (token_count < 3) {
            resp_param_error();
            return;
        }

        if (strcmp(tokens[1], "ON") == 0) {
            if (strcmp(tokens[2], "A") == 0) {
                resp_ok();
                set_lna(RF_CH_A, LNA_ACTIVE);
            } else if (strcmp(tokens[2], "B") == 0) {
                resp_ok();
                set_lna(RF_CH_B, LNA_ACTIVE);
            } else {
                resp_param_error();
            }
        } else if (strcmp(tokens[1], "OFF") == 0) {
            if (strcmp(tokens[2], "A") == 0) {
                resp_ok();
                set_lna(RF_CH_A, LNA_BYPASS);
            } else if (strcmp(tokens[2], "B") == 0) {
                resp_ok();
                set_lna(RF_CH_B, LNA_BYPASS);
            } else {
                resp_param_error();
            }
        } else {
            resp_param_error();
        }
        return;
    }

    // Handle PA control
    if (strcmp(tokens[0], "PA") == 0) {
        if (token_count < 3) {
            resp_param_error();
            return;
        }

        if (strcmp(tokens[1], "ON") == 0) {
            if (strcmp(tokens[2], "A") == 0) {
                resp_ok();
                set_pa(RF_CH_A, PA_ACTIVE);
            } else if (strcmp(tokens[2], "B") == 0) {
                resp_ok();
                set_pa(RF_CH_B, PA_ACTIVE);
            } else {
                resp_param_error();
            }
        } else if (strcmp(tokens[1], "OFF") == 0) {
            if (strcmp(tokens[2], "A") == 0) {
                resp_ok();
                set_pa(RF_CH_A, PA_BYPASS);
            } else if (strcmp(tokens[2], "B") == 0) {
                resp_ok();
                set_pa(RF_CH_B, PA_BYPASS);
            } else {
                resp_param_error();
            }
        } else {
            resp_param_error();
        }
        return;
    }

    // Handle TDD control
    if (strcmp(tokens[0], "TDD") == 0) {
        if (token_count < 3) {
            resp_param_error();
            return;
        }

        if (strcmp(tokens[1], "ON") == 0) {
            if (strcmp(tokens[2], "A") == 0) {
                resp_ok();
                set_tdd_mode(RF_CH_A, RF_ACTIVE);
            } else if (strcmp(tokens[2], "B") == 0) {
                resp_ok();
                set_tdd_mode(RF_CH_B, RF_ACTIVE);
            } else {
                resp_param_error();
            }
        } else if (strcmp(tokens[1], "OFF") == 0) {
            if (strcmp(tokens[2], "A") == 0) {
                resp_ok();
                set_tdd_mode(RF_CH_A, RF_INACTIVE);
            } else if (strcmp(tokens[2], "B") == 0) {
                resp_ok();
                set_tdd_mode(RF_CH_B, RF_INACTIVE);
            } else {
                resp_param_error();
            }
        } else {
            resp_param_error();
        }
        return;
    }

    // Handle RXATTEN commands
    if (strcmp(tokens[0], "RXATTEN") == 0) {
        dbgprintf(">> parsing RXATTEN\n");
        if (token_count < 3) {
            resp_param_error();
            return;
        }

        rf_channel_t channel;
        if (strcmp(tokens[1], "A") == 0) {
            channel = RF_CH_A;
        } else if (strcmp(tokens[1], "B") == 0) {
            channel = RF_CH_B;
        } else {
            resp_param_error();
            return;
        }

        char *endptr;
        float atten_value = strtof(tokens[2], &endptr);
        if (endptr == tokens[2] || *endptr != '\0') {
            resp_param_error();
            return;
        }

        resp_ok();

        set_rx_atten(channel, atten_value);

        dbgprintf(">> set RXATTEN %s %f\n", tokens[1], atten_value);
        return;
    }

    // Handle Reset
    if (strcmp(tokens[0], "RESET") == 0) {
    	if (token_count < 2) {
          resp_param_error();
          return;
      }

      rf_channel_t channel;
      if (strcmp(tokens[1], "A") == 0) {
          channel = RF_CH_A;
      } else if (strcmp(tokens[1], "B") == 0) {
          channel = RF_CH_B;
      } else {
          resp_param_error();
          return;
      }

      resp_ok();

      rf_reset(channel);

      return;
    }

    // Handle SW:<name>:<pos> command
    if (strcmp(tokens[0], "SW") == 0) {
        if (token_count < 3) {
            resp_param_error();
            return;
        }
        // Map switch name to switch object and type
        rf_switch_pos_t pos = SW_POS_NONE;
        if (strcmp(tokens[2], "J1") == 0) pos = SW_POS_1;
        else if (strcmp(tokens[2], "J2") == 0) pos = SW_POS_2;
        else if (strcmp(tokens[2], "J3") == 0) pos = SW_POS_3;
        else {
            resp_param_error();
            return;
        }

        // Switches: SW1A, SW1B, SW2A, SW2B, SW3A, SW3B, TDD_A, TDD_B
        if (strcmp(tokens[1], "SW1A") == 0) {
            set_sw_pos_sp3t(IC904, pos);
            resp_ok();
        } else if (strcmp(tokens[1], "SW1B") == 0) {
            set_sw_pos_sp3t(IC1004, pos);
            resp_ok();
        } else if (strcmp(tokens[1], "SW2A") == 0) {
            if (pos == SW_POS_3 || pos == SW_POS_NONE) {
                resp_param_error();
            } else {
                set_sw_pos_spdt(IC905, pos);
                resp_ok();
            }
        } else if (strcmp(tokens[1], "SW2B") == 0) {
            if (pos == SW_POS_3 || pos == SW_POS_NONE) {
                resp_param_error();
            } else {
                set_sw_pos_spdt(IC1005, pos);
                resp_ok();
            }
        } else if (strcmp(tokens[1], "SW3A") == 0) {
            if (pos == SW_POS_3 || pos == SW_POS_NONE) {
                resp_param_error();
            } else {
                set_sw_pos_spdt(IC903, pos);
                resp_ok();
            }
        } else if (strcmp(tokens[1], "SW3B") == 0) {
            if (pos == SW_POS_3 || pos == SW_POS_NONE) {
                resp_param_error();
            } else {
                set_sw_pos_spdt(IC1003, pos);
                resp_ok();
            }
        } else if (strcmp(tokens[1], "TDDA") == 0) {
            if (pos == SW_POS_3 || pos == SW_POS_NONE) {
                resp_param_error();
            } else {
                set_sw_pos_spdt(IC1501_1502, pos);
                resp_ok();
            }
        } else if (strcmp(tokens[1], "TDDB") == 0) {
            if (pos == SW_POS_3 || pos == SW_POS_NONE) {
                resp_param_error();
            } else {
                set_sw_pos_spdt(IC1601_1602, pos);
                resp_ok();
            }
        } else {
            resp_param_error();
        }
        return;
    }

    // we shouldn't get here...
    cdcprintf("ERROR:CMD\n");
}

////////////////////////////////////////////
/* USER CODE END 4 */

void Error_Handler(void)
{
  __disable_irq();
  while (1)
  {
  }
}
